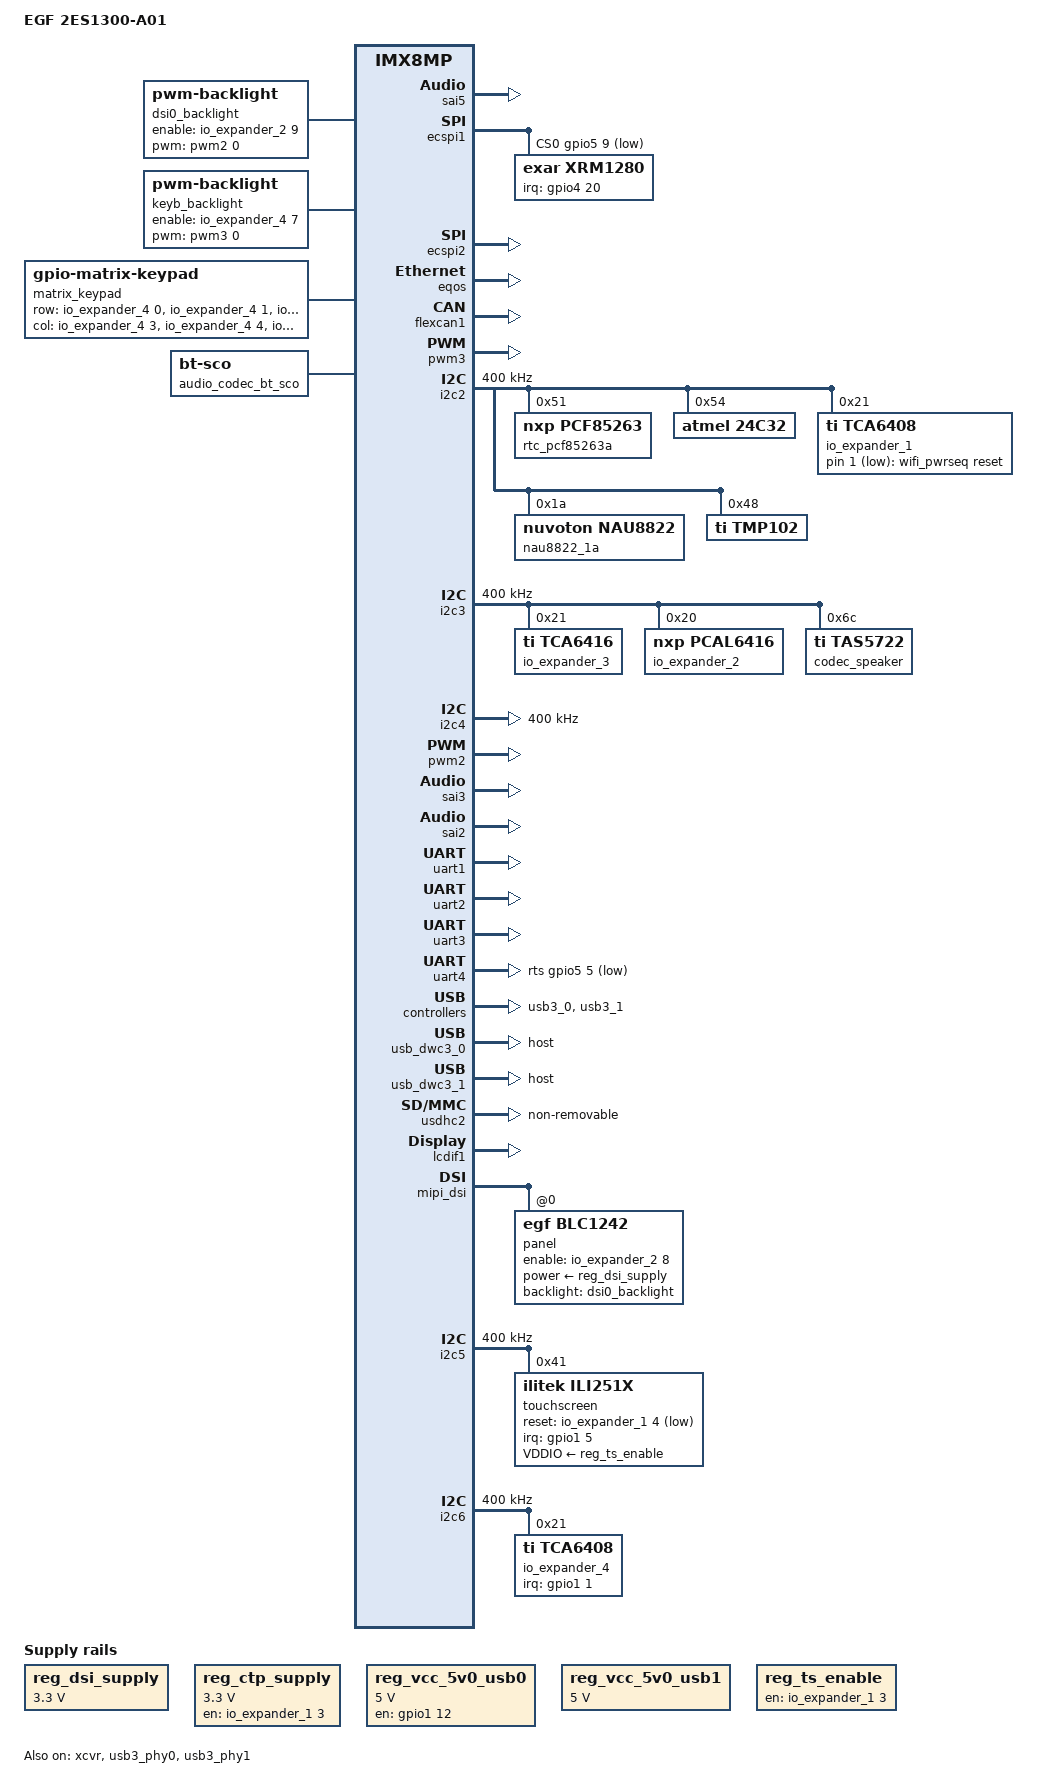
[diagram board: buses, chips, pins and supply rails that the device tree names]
// SPDX-License-Identifier: (GPL-2.0+ OR MIT)
/*
 * Copyright 2019 NXP
 */

 /dts-v1/;

 #include "imx8mp-egf-3sm1009.dtsi"
 
 / {
	 model = "EGF 2ES1300-A01";
	 compatible = "fsl,imx8mp";
  
	  reg_dsi_supply: regulator-3v3-dsi{
		 compatible = "regulator-fixed";
		 regulator-name = "DSI-3V3";
		 regulator-min-microvolt = <3300000>;
		 regulator-max-microvolt = <3300000>;
	 };
	 
	 reg_ctp_supply: regulator-3v3-ctp {
		 compatible = "regulator-fixed";
		 regulator-name = "VCC_3V3_CTP";
		 gpio = <&io_expander_1 3 GPIO_ACTIVE_HIGH>;
		 regulator-min-microvolt = <3300000>;
		 regulator-max-microvolt = <3300000>;
		 enable-active-high;
		 regulator-always-on;
	 };
	 
	  dsi0_backlight: backlight_mipi {
		 compatible = "pwm-backlight";
		 pwms = <&pwm2 0 100000 0>;
		 enable-gpios = <&io_expander_2 9 GPIO_ACTIVE_HIGH>;
		 status = "okay";
		 brightness-levels = < 0  1  2  3  4  5  6  7  8  9
					  10 11 12 13 14 15 16 17 18 19
					  20 21 22 23 24 25 26 27 28 29
					  30 31 32 33 34 35 36 37 38 39
					  40 41 42 43 44 45 46 47 48 49
					  50 51 52 53 54 55 56 57 58 59
					  60 61 62 63 64 65 66 67 68 69
					  70 71 72 73 74 75 76 77 78 79
					  80 81 82 83 84 85 86 87 88 89
					  90 91 92 93 94 95 96 97 98 99
					 100>;
		 default-brightness-level = <80>;
	 };
 
	 keyb_backlight: backlight_keyboard {
		compatible = "pwm-backlight";
		pwms = <&pwm3 0 1000000 0>; // T=1000000ns=1ms f=1kHz
		enable-gpios = <&io_expander_4 7 GPIO_ACTIVE_HIGH>;
		status = "okay";
		brightness-levels = < 0  1  2  3  4  5  6  7  8  9
					 10 11 12 13 14 15 16 17 18 19
					 20 21 22 23 24 25 26 27 28 29
					 30 31 32 33 34 35 36 37 38 39
					 40 41 42 43 44 45 46 47 48 49
					 50 51 52 53 54 55 56 57 58 59
					 60 61 62 63 64 65 66 67 68 69
					 70 71 72 73 74 75 76 77 78 79
					 80 81 82 83 84 85 86 87 88 89
					 90 91 92 93 94 95 96 97 98 99
					100>;
		default-brightness-level = <80>;
	};

	matrix_keypad: matrix-keypad {
		compatible = "gpio-matrix-keypad";
		row-gpios = <
			&io_expander_4 0 GPIO_ACTIVE_HIGH
			&io_expander_4 1 GPIO_ACTIVE_HIGH
			&io_expander_4 2 GPIO_ACTIVE_HIGH
		>;
		col-gpios = <
			&io_expander_4 3 GPIO_ACTIVE_HIGH
			&io_expander_4 4 GPIO_ACTIVE_HIGH
			&io_expander_4 5 GPIO_ACTIVE_HIGH
		>;
		/* keymap
		    T
			BTN_0   BTN_3
			BTN_1   BTN_4
			BTN_2   BTN_5
			BTN_7   BTN_6
					POWER	
		*/
		linux,keymap = <
			MATRIX_KEY(0x00, 0x00, BTN_0)
			MATRIX_KEY(0x00, 0x01, BTN_1)
			MATRIX_KEY(0x00, 0x02, BTN_2)
			MATRIX_KEY(0x01, 0x00, BTN_3)
			MATRIX_KEY(0x01, 0x01, BTN_4)
			MATRIX_KEY(0x01, 0x02, BTN_5)
			MATRIX_KEY(0x02, 0x00, BTN_6)
			MATRIX_KEY(0x02, 0x01, BTN_7)
		>;
		gpio-activelow;
		wakeup-source;
		debounce-delay-ms = <50>;
		col-scan-delay-us = <5000>;
		linux,no-autorepeat;
	};

	clk_xrm1280: fixed-clock {
		compatible = "fixed-clock";
		#clock-cells = <0>;
		clock-frequency = <18432000>;  // 18.432 MHz
		clock-output-names = "xrm1280_clk";
	};




	 reg_vcc_5v0_usb0: regulator-5v0-usb0 {
		compatible = "regulator-fixed";
		pinctrl-names = "default";
		pinctrl-0 = <&pinctrl_reg5v0_usb0>;
		regulator-name = "VCC_5V0_USB0";
		gpio = <&gpio1 12 GPIO_ACTIVE_HIGH>;
		regulator-min-microvolt = <5000000>;
		regulator-max-microvolt = <5000000>;
		enable-active-high;
	};
	
	reg_vcc_5v0_usb1: regulator-5v0-usb1 {
		compatible = "regulator-fixed";
		regulator-name = "VCC_5V0_USB1";
		regulator-min-microvolt = <5000000>;
		regulator-max-microvolt = <5000000>;
	};
	
	reg_ts_enable: regulator-ts-ena  {
        compatible = "regulator-fixed";
        regulator-name = "regulator-ts-ena";	
        gpio = <&io_expander_1 3 GPIO_ACTIVE_HIGH>;
        enable-active-high;
        regulator-always-on;
    };

	sound-hdmi {
		status = "okay";
	};

	sound-hdmi {
		compatible = "fsl,imx-audio-hdmi";
		model = "audio-hdmi";
		audio-cpu = <&aud2htx>;
		hdmi-out;
		constraint-rate = <44100>,
				<88200>,
				<176400>,
				<32000>,
				<48000>,
				<96000>,
				<192000>;
		status = "disabled";
	};


	sound-micfil {
		compatible = "fsl,imx-audio-micfil";
		model = "imx-audio-micfil";
		cpu-dai = <&micfil>;
	};

	sound-xcvr {
		compatible = "fsl,imx-audio-xcvr";
		model = "imx-audio-xcvr";
		cpu-dai = <&xcvr>;
	};


	sound {
		compatible = "simple-audio-card";
		simple-audio-card,bitclock-master = <&codec_dai>;
		simple-audio-card,format = "i2s";
		simple-audio-card,frame-master = <&codec_dai>;
		simple-audio-card,mclk-fs = <256>;
		simple-audio-card,name = "imx8mp-nau8822";
		simple-audio-card,routing =
			"Headphones", "LHP",
			"Headphones", "RHP",
			"Speaker", "LSPK",
			"Speaker", "RSPK",
			"Line Out", "AUXOUT1",
			"Line Out", "AUXOUT2",
			"LAUX", "Line In",
			"RAUX", "Line In",
			"LMICP", "Mic In",
			"RMICP", "Mic In";
		simple-audio-card,widgets =
			"Headphones", "Headphones",
			"Line Out", "Line Out",
			"Speaker", "Speaker",
			"Microphone", "Mic In",
			"Line", "Line In";

		codec_dai: simple-audio-card,codec {
			sound-dai = <&nau8822_1a>;
			clocks = <&audio_blk_ctrl IMX8MP_CLK_AUDIOMIX_SAI3_MCLK1>;
		};

		simple-audio-card,cpu {
			sound-dai = <&sai3>;
		};
					
	};

	// Speaker Amplifier
	sound-speaker {
		compatible = "simple-audio-card";
		simple-audio-card,name = "TAS5722";
		simple-audio-card,format = "left_j";
		simple-audio-card,bitclock-master = <&cpu_sai2_master>;
		simple-audio-card,frame-master = <&cpu_sai2_master>;
		simple-audio-card,mclk-fs = <64>;
		status = "ok";

		cpu_sai2_master: simple-audio-card,cpu {
			sound-dai = <&sai2>;
		};

		simple-audio-card,codec {
			sound-dai = <&codec_speaker>;
			clocks = <&clk IMX8MP_CLK_SAI2>;
			status= "ok";
		};
	};
	
	// Audio I2S Modem
	// Codec "dummy"
	audio_codec_bt_sco: audio-codec-bt-sco {
		compatible = "linux,bt-sco";
		#sound-dai-cells = <1>;
	};

	sound-bt-sco {
		compatible = "simple-audio-card";
		simple-audio-card,name = "bt-sco-audio";
		simple-audio-card,format = "dsp_a";
		simple-audio-card,bitclock-inversion;
		simple-audio-card,frame-master = <&btcpu>;
		simple-audio-card,bitclock-master = <&btcpu>;

		btcpu: simple-audio-card,cpu {
			sound-dai = <&sai5>;
			dai-tdm-slot-num = <2>;
			dai-tdm-slot-width = <16>;
		};

		simple-audio-card,codec {
			sound-dai = <&audio_codec_bt_sco 1>;
		};
	};






	wifi_pwrseq: pwrseq {
		compatible = "mmc-pwrseq-simple";
		reset-gpios = <&io_expander_1 1 GPIO_ACTIVE_LOW>;
	};



 };


 &sai5 {
	#sound-dai-cells = <0>;
	pinctrl-names = "default";
	pinctrl-0 = <&pinctrl_sai5>;
	assigned-clocks = <&clk IMX8MP_CLK_SAI5>;
	assigned-clock-parents = <&clk IMX8MP_AUDIO_PLL1_OUT>;
	assigned-clock-rates = <24576000>;
	clocks = <&audio_blk_ctrl IMX8MP_CLK_AUDIOMIX_SAI5_IPG>, <&clk IMX8MP_CLK_DUMMY>,
		<&audio_blk_ctrl IMX8MP_CLK_AUDIOMIX_SAI5_MCLK1>, <&clk IMX8MP_CLK_DUMMY>,
		<&clk IMX8MP_CLK_DUMMY>, <&clk IMX8MP_AUDIO_PLL1_OUT>,
		<&clk IMX8MP_AUDIO_PLL2_OUT>;
	clock-names = "bus", "mclk0", "mclk1", "mclk2", "mclk3", "pll8k", "pll11k";
	fsl,sai-mclk-direction-output;
	status = "okay";
};

//  ECSPI1 signals
&ecspi1 {
	#address-cells = <1>;
	#size-cells = <0>;
	fsl,spi-num-chipselects = <1>;
	pinctrl-names = "default";
	pinctrl-0 = <&pinctrl_ecspi1 &pinctrl_ecspi1_cs>;
	cs-gpios = <&gpio5 9 GPIO_ACTIVE_LOW>;
	status = "okay";


	xrm1280: xrm1280@0 {
		compatible = "exar,xrm1280";
		reg = <0>;
		pinctrl-names = "default";
		pinctrl-0 = <&pinctrl_xrm1280>;

		clocks = <&clk_xrm1280>;
		interrupt-parent = <&gpio4>;
		interrupts = <20 IRQ_TYPE_EDGE_FALLING>;
		gpio-controller;
		#gpio-cells = <2>;
	};



};

// ECPSI2 on expansion connector
&ecspi2 {
	#address-cells = <1>;
	#size-cells = <0>;
	fsl,spi-num-chipselects = <1>;
	pinctrl-names = "default";
	pinctrl-0 = <&pinctrl_ecspi2 &pinctrl_ecspi2_cs>;
	cs-gpios = <&gpio5 13 GPIO_ACTIVE_LOW>;
	status = "okay";
};



&eqos {
	status = "okay";
};


&fec {
	status = "disabled";
};



&flexcan1 {
	pinctrl-names = "default";
	pinctrl-0 = <&pinctrl_flexcan1>;
	status = "okay";
};


&pwm3 {
	pinctrl-names = "default";
	pinctrl-0 = <&pinctrl_pwm3>;
	status = "ok";
};



&i2c2 {
	clock-frequency = <400000>;
	pinctrl-names = "default";
	pinctrl-0 = <&pinctrl_i2c2>;
	status = "okay";

		// RTC carrier
		rtc_pcf85263a: rtc@51 {
			compatible = "nxp,pcf85263";
			reg = <0x51>;
		};
	
		// EEPROM carrier
		24c32@54 {
			compatible = "atmel,24c32";
			pinctrl-names = "default";
			pinctrl-0 = <&pinctrl_eeprom_carrier>;
			reg = <0x54>;
			pagesize = <32>;
		};
			
		io_expander_1: gpio@21 {
			compatible = "ti,tca6408";
			reg = <0x21>;
			gpio-controller;
			#gpio-cells = <2>;
		};
		
		nau8822_1a: nau8822@1a {
			compatible = "nuvoton,nau8822";
			reg = <0x1a>;
			#sound-dai-cells = <0>;
			clocks = <&audio_blk_ctrl IMX8MP_CLK_AUDIOMIX_SAI3_MCLK1>;
			clock-names = "mclk";
		};
		
		// temp sensor
		tmp102@48 {
			reg = <0x48>;
			compatible = "ti,tmp102";
		};
};

&i2c3 {
	clock-frequency = <400000>;
	pinctrl-names = "default";
	pinctrl-0 = <&pinctrl_i2c3>;
	status = "okay";

	io_expander_3: gpio@21 {
		compatible = "ti,tca6416";
		reg = <0x21>;
		gpio-controller;
		#gpio-cells = <2>;
	};
	
	io_expander_2: gpio@20 {	
		compatible = "nxp,pcal6416";
		#address-cells = <1>;
		#size-cells = <0>;
		gpio-controller;
		#gpio-cells = <2>;
		reg = <0x20>;
		status = "okay";
		xr20m1280_nreset {
			gpio-hog;
			gpios = <0 GPIO_ACTIVE_HIGH>;
			output-high;
			line-name = "xr20m1280_nreset";
		};
	};

	codec_speaker: tas5720@6c{
		compatible = "ti,tas5722";
		#sound-dai-cells = <0>;
		reg = <0x6c>;
		status = "okay";
	};
};


&i2c4 {
	clock-frequency = <400000>;
	pinctrl-names = "default";
	pinctrl-0 = <&pinctrl_i2c4>;
	status = "okay"; 

};

&pwm2 {
	status = "okay";
	pinctrl-names = "default";
	pinctrl-0 = <&pinctrl_pwm2>;
};



&irqsteer_hdmi {
	status = "disabled";
};

&hdmi_blk_ctrl {
	status = "disabled";
};

&hdmi_pavi {
	status = "disabled";
};

&hdmi {
	status = "disabled";
};

&hdmiphy {
	status = "disabled";
};

/* LVDS */
&lcdif2 {
	status = "disabled";
};

/* HDMI */
&lcdif3 {
	status = "disabled";
};



&sai3 {
	#sound-dai-cells = <0>;
	pinctrl-names = "default";
	pinctrl-0 = <&pinctrl_sai3>;
	assigned-clocks = <&clk IMX8MP_CLK_SAI3>;
	assigned-clock-parents = <&clk IMX8MP_AUDIO_PLL1_OUT>;
	assigned-clock-rates = <24576000>;
	clocks = <&audio_blk_ctrl IMX8MP_CLK_AUDIOMIX_SAI3_IPG>, <&clk IMX8MP_CLK_DUMMY>,
		 <&audio_blk_ctrl IMX8MP_CLK_AUDIOMIX_SAI3_MCLK1>, <&clk IMX8MP_CLK_DUMMY>,
		 <&clk IMX8MP_CLK_DUMMY>;
	clock-names = "bus", "mclk0", "mclk1", "mclk2", "mclk3";
	fsl,sai-mclk-direction-output;
	status = "okay";
};



&sai2 {
	#sound-dai-cells = <0>;
	pinctrl-names = "default";
	pinctrl-0 = <&pinctrl_sai2>;
	assigned-clocks = <&clk IMX8MP_CLK_SAI2>;
	assigned-clock-parents = <&clk IMX8MP_AUDIO_PLL1_OUT>;
	assigned-clock-rates = <24576000>;
	fsl,sai-mclk-direction-output;
	status = "okay";
};

&xcvr {
	#sound-dai-cells = <0>;
	status = "okay";
};

&uart1 { 
	pinctrl-names = "default";
	pinctrl-0 = <&pinctrl_uart1>;
	assigned-clocks = <&clk IMX8MP_CLK_UART1>;
	assigned-clock-parents = <&clk IMX8MP_SYS_PLL1_80M>;
	uart-has-rtscts;
	status = "okay";
};


&uart2 {
	/* console */
	pinctrl-names = "default";
	pinctrl-0 = <&pinctrl_uart2>;
	status = "okay";
};

&uart3 {
	pinctrl-names = "default";
	pinctrl-0 = <&pinctrl_uart3>;
	assigned-clocks = <&clk IMX8MP_CLK_UART3>;
	assigned-clock-parents = <&clk IMX8MP_SYS_PLL1_80M>;
	uart-has-rtscts;
	status = "okay";

 /* WIP
	bluetooth {
		compatible = "nxp,88w8987-bt";
		fw-init-baudrate = <3000000>;
	};
	*/
};

&uart4 {
	pinctrl-names = "default";
	pinctrl-0 = <&pinctrl_uart4>;
	assigned-clocks = <&clk IMX8MP_CLK_UART4>;
	assigned-clock-parents = <&clk IMX8MP_SYS_PLL1_80M>;
	linux,rs485-enabled-at-boot-time;
	linux,rs485-rts-after-send;
	rts-gpios = <&gpio5 5 GPIO_ACTIVE_LOW>;
	status = "okay";

};


&sdma2 {
	status = "okay";
};

&usb3_phy0 {
	fsl,phy-tx-vref-tune = <0xe>;
	fsl,phy-tx-preemp-amp-tune = <3>;
	fsl,phy-tx-vboost-level = <5>;
	fsl,phy-comp-dis-tune = <7>;
	fsl,pcs-tx-deemph-3p5db = <0x21>;
	fsl,phy-pcs-tx-swing-full = <0x7f>;
	vbus-supply = <&reg_vcc_5v0_usb0>;
	status = "okay";
};

&usb3_0 {
	status = "okay";
};

&usb_dwc3_0 {
	dr_mode = "host";
	hnp-disable;
	srp-disable;
	adp-disable;
	snps,dis-u1-entry-quirk;
	snps,dis-u2-entry-quirk;
	status = "okay";
};



&usb3_phy1 {
	fsl,phy-tx-preemp-amp-tune = <3>;
	fsl,phy-tx-vref-tune = <0xb>;
	vbus-supply = <&reg_vcc_5v0_usb1>;
	status = "okay";
};

&usb3_1 {
	fsl,disable-port-power-control;
	fsl,permanently-attached;
	status = "okay";
};

&usb_dwc3_1 {
	dr_mode = "host";
	pinctrl-names = "default";
	pinctrl-0 = <&pinctrl_usb_hub>;
	status = "okay";
};


&usdhc1 {
	status = "disabled";
};

&usdhc2 {
	assigned-clocks = <&clk IMX8MP_CLK_USDHC2>;
	pinctrl-names = "default", "state_100mhz", "state_200mhz";
	pinctrl-0 = <&pinctrl_usdhc2>;
	pinctrl-1 = <&pinctrl_usdhc2_100mhz>;
	pinctrl-2 = <&pinctrl_usdhc2_200mhz>;
	non-removable;
	keep-power-in-suspend;
	mmc-pwrseq = <&wifi_pwrseq>;
	status = "okay";
};



&iomuxc {
	pinctrl-names = "default";
	pinctrl-0 = <&pinctrl_egf>,  <&pinctrl_fgpa_jtag>;

	pinctrl_egf: egfgrp {
		// gpio reset# LTE module
		fsl,pins = <
			MX8MP_IOMUXC_SAI5_MCLK__GPIO3_IO25         0x00000106
		>;
	};

	pinctrl_fgpa_jtag: fgpa_jtag {
		fsl,pins = <
			MX8MP_IOMUXC_SD1_CLK__GPIO2_IO00	0x00000006
			MX8MP_IOMUXC_SD1_CMD__GPIO2_IO01	0x00000006
			MX8MP_IOMUXC_SD1_DATA2__GPIO2_IO04	0x00000006
			MX8MP_IOMUXC_SD1_DATA3__GPIO2_IO05	0x00000006
			MX8MP_IOMUXC_GPIO1_IO15__GPIO1_IO15 0x00000006
		>;
	};


	pinctrl_ts: tsgrp {
		fsl,pins = <
			MX8MP_IOMUXC_GPIO1_IO05__GPIO1_IO05          0x00000116       /* TS nINT */
		>;
	};

	pinctrl_sai5: sai5grp {
		fsl,pins = <
			MX8MP_IOMUXC_SAI2_RXC__AUDIOMIX_SAI5_TX_BCLK 0x00000106			/* BITCLOCK CPU => MODEM */
			MX8MP_IOMUXC_SAI5_RXD3__AUDIOMIX_SAI5_TX_DATA00 0x00000106		/* TX0  	CPU => MODEM */
			MX8MP_IOMUXC_SAI2_RXFS__AUDIOMIX_SAI5_TX_SYNC 0x00000106		/* TX_SYNC 	CPU => MODEM */
			MX8MP_IOMUXC_SAI5_RXD0__AUDIOMIX_SAI5_RX_DATA00 0x00000106		/* RX0  	MODEM => CPU */
		>;
	};



	pinctrl_flexcan1: flexcan1grp {
		fsl,pins = <
            MX8MP_IOMUXC_SAI5_RXD1__CAN1_TX          0x154
			MX8MP_IOMUXC_SAI5_RXD2__CAN1_RX          0x154
		>;
	};


    pinctrl_uart1: uart1grp {
		fsl,pins = <
			MX8MP_IOMUXC_UART1_RXD__UART1_DCE_RX	0x00000146
			MX8MP_IOMUXC_UART1_TXD__UART1_DCE_TX	0x00000146
            MX8MP_IOMUXC_SD1_DATA1__UART1_DCE_CTS   0x00000146
            MX8MP_IOMUXC_SD1_DATA0__UART1_DCE_RTS   0x00000146
		>;
	};


	pinctrl_uart2: uart2grp {
		fsl,pins = <
			MX8MP_IOMUXC_UART2_RXD__UART2_DCE_RX	0x00000146
			MX8MP_IOMUXC_UART2_TXD__UART2_DCE_TX	0x00000146
		>;
	};

	pinctrl_uart3: uart3grp {
		fsl,pins = <
			MX8MP_IOMUXC_UART3_RXD__UART3_DCE_RX     0x00000146
			MX8MP_IOMUXC_UART3_TXD__UART3_DCE_TX     0x00000146
		>;
	};
	
	pinctrl_uart4: uart4grp {
		fsl,pins = <
			MX8MP_IOMUXC_UART4_RXD__UART4_DCE_RX	0x00000146
			MX8MP_IOMUXC_UART4_TXD__UART4_DCE_TX	0x00000146
			MX8MP_IOMUXC_SPDIF_EXT_CLK__GPIO5_IO05	0x46
		>;
	};


	pinctrl_ecspi1: ecspi1grp {
		fsl,pins = <
			MX8MP_IOMUXC_ECSPI1_SCLK__ECSPI1_SCLK		0x82
			MX8MP_IOMUXC_ECSPI1_MOSI__ECSPI1_MOSI		0x82
			MX8MP_IOMUXC_ECSPI1_MISO__ECSPI1_MISO		0x82
		>;
	};

	pinctrl_ecspi1_cs: ecspi1csgrp {
		fsl,pins = <
			MX8MP_IOMUXC_ECSPI1_SS0__GPIO5_IO09		0x40000
		>;
	};
	pinctrl_xrm1280: xrm1280grp {
		fsl,pins = <
			MX8MP_IOMUXC_SAI1_MCLK__GPIO4_IO20		0x00000116       /* nInt spi to uart */
		>;
	};

	pinctrl_ecspi2: ecspi2grp {
		fsl,pins = <
			MX8MP_IOMUXC_ECSPI2_SCLK__ECSPI2_SCLK		0x82
			MX8MP_IOMUXC_ECSPI2_MOSI__ECSPI2_MOSI		0x82
			MX8MP_IOMUXC_ECSPI2_MISO__ECSPI2_MISO		0x82
		>;
	};

	pinctrl_ecspi2_cs: ecspi2cs {
		fsl,pins = <
			MX8MP_IOMUXC_ECSPI2_SS0__GPIO5_IO13		0x40000
		>;
	};

	pinctrl_sai3: sai3grp {
		fsl,pins = <
			MX8MP_IOMUXC_SAI3_TXFS__AUDIOMIX_SAI3_TX_SYNC	0xd6
			MX8MP_IOMUXC_SAI3_TXC__AUDIOMIX_SAI3_TX_BCLK	0xd6
			MX8MP_IOMUXC_SAI3_RXD__AUDIOMIX_SAI3_RX_DATA00	0xd6
			MX8MP_IOMUXC_SAI3_TXD__AUDIOMIX_SAI3_TX_DATA00	0xd6
			MX8MP_IOMUXC_SAI3_MCLK__AUDIOMIX_SAI3_MCLK	0xd6
		>;
	};

	pinctrl_sai2: sai2grp {
		fsl,pins = <
			MX8MP_IOMUXC_SAI2_MCLK__AUDIOMIX_SAI2_MCLK 		0xd6
			MX8MP_IOMUXC_SAI2_TXC__AUDIOMIX_SAI2_TX_BCLK 	0xd6
			MX8MP_IOMUXC_SAI2_TXD0__AUDIOMIX_SAI2_TX_DATA00 0xd6
			MX8MP_IOMUXC_SAI2_TXFS__AUDIOMIX_SAI2_TX_SYNC 	0xd6
		>;
	};



	pinctrl_usdhc2: usdhc2grp {
		fsl,pins = <
            MX8MP_IOMUXC_SD2_CLK__USDHC2_CLK	0x190
			MX8MP_IOMUXC_SD2_CMD__USDHC2_CMD	0x1d0
			MX8MP_IOMUXC_SD2_DATA0__USDHC2_DATA0	0x1d0
			MX8MP_IOMUXC_SD2_DATA1__USDHC2_DATA1	0x1d0
			MX8MP_IOMUXC_SD2_DATA2__USDHC2_DATA2	0x1d0
			MX8MP_IOMUXC_SD2_DATA3__USDHC2_DATA3	0x1d0
		>;
	};

	pinctrl_usdhc2_100mhz: usdhc2-100mhzgrp {
		fsl,pins = <
			MX8MP_IOMUXC_SD2_CLK__USDHC2_CLK	0x194
			MX8MP_IOMUXC_SD2_CMD__USDHC2_CMD	0x1d4
			MX8MP_IOMUXC_SD2_DATA0__USDHC2_DATA0	0x1d4
			MX8MP_IOMUXC_SD2_DATA1__USDHC2_DATA1	0x1d4
			MX8MP_IOMUXC_SD2_DATA2__USDHC2_DATA2	0x1d4
			MX8MP_IOMUXC_SD2_DATA3__USDHC2_DATA3	0x1d4
		>;
	};

	pinctrl_usdhc2_200mhz: usdhc2-200mhzgrp {
		fsl,pins = <
			MX8MP_IOMUXC_SD2_CLK__USDHC2_CLK	0x196
			MX8MP_IOMUXC_SD2_CMD__USDHC2_CMD	0x1d6
			MX8MP_IOMUXC_SD2_DATA0__USDHC2_DATA0	0x1d6
			MX8MP_IOMUXC_SD2_DATA1__USDHC2_DATA1	0x1d6
			MX8MP_IOMUXC_SD2_DATA2__USDHC2_DATA2	0x1d6
			MX8MP_IOMUXC_SD2_DATA3__USDHC2_DATA3	0x1d6
		>;
	};

	pinctrl_reg5v0_usb0: regusb0vbusgrp {
		fsl,pins = <MX8MP_IOMUXC_GPIO1_IO12__GPIO1_IO12        0x00000106>;
	};

	pinctrl_usb_hub: usb_hubgrp {
		fsl,pins = <MX8MP_IOMUXC_GPIO1_IO14__GPIO1_IO14        0x00000106>;
	};

	pinctrl_eeprom_carrier: eeprom_carrier_grp {
		fsl,pins = <MX8MP_IOMUXC_SAI3_RXC__GPIO4_IO29	0x106>;
	};

	pinctrl_i2c6: i2c6grp {
		fsl,pins = <
			MX8MP_IOMUXC_HDMI_CEC__I2C6_SCL		0x400001c2
			MX8MP_IOMUXC_HDMI_HPD__I2C6_SDA		0x400001c2	
		>;
	};

	pinctrl_pwm2: pwm2grp {
		fsl,pins = <
			MX8MP_IOMUXC_GPIO1_IO11__PWM2_OUT			0x00000106
		>;
	};
	pinctrl_pwm3: pwm3grp {
		fsl,pins = <
			MX8MP_IOMUXC_GPIO1_IO10__PWM3_OUT			0x00000106
		>;
	};
	
	pinctrl_keyboard: keybgrp {
		fsl,pins = <
			MX8MP_IOMUXC_GPIO1_IO01__GPIO1_IO01          0x00000116       /* KEYB INT 3V3 */
		>;

	};
};


&lcdif1 {
	status = "okay";
};

&mipi_dsi {
	status = "okay";
	panel@0 {
		compatible = "egf,blc1242";
        reg = <0>;
       	dsi-lanes = <4>;
        pinctrl-names = "default";
		backlight = <&dsi0_backlight>;	
		enable-gpio = <&io_expander_2 8 GPIO_ACTIVE_HIGH>;
		power-supply =  <&reg_dsi_supply>;
		status = "okay";
	};
};



&i2c5 {
	clock-frequency = <400000>;
	pinctrl-names = "default";
	pinctrl-0 = <&pinctrl_i2c5>;
	status = "okay"; 

	touchscreen@41 {
        compatible = "ilitek,ili251x";
        reg = <0x41>;
		pinctrl-names = "default";
		pinctrl-0 = <&pinctrl_ts>;
        interrupt-parent = <&gpio1>;
        interrupts = <5 IRQ_TYPE_EDGE_FALLING>;
        reset-gpios = <&io_expander_1 4 GPIO_ACTIVE_LOW>; // Index 0-based
        VDDIO-supply = <&reg_ts_enable>;
    };
};

&i2c6 {
	clock-frequency = <400000>;
	pinctrl-names = "default";
	pinctrl-0 = <&pinctrl_i2c6>;
	status = "okay";

	io_expander_4: gpio@21 {
		compatible = "ti,tca6408";
		reg = <0x21>;
		gpio-controller;
		#gpio-cells = <2>;
		pinctrl-names = "default";
		pinctrl-0 = <&pinctrl_keyboard>;
		interrupt-parent = <&gpio1>;
		interrupts = <1 IRQ_TYPE_EDGE_FALLING>;
		interrupt-controller;
		#interrupt-cells = <2>;
	};
};
